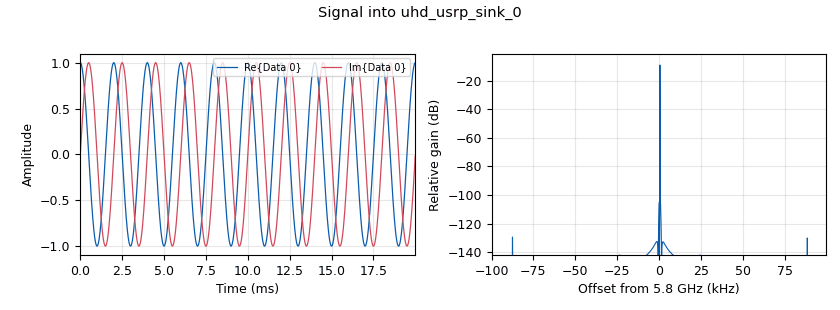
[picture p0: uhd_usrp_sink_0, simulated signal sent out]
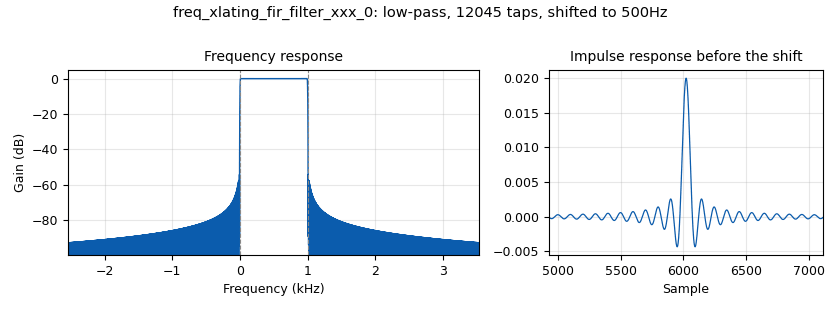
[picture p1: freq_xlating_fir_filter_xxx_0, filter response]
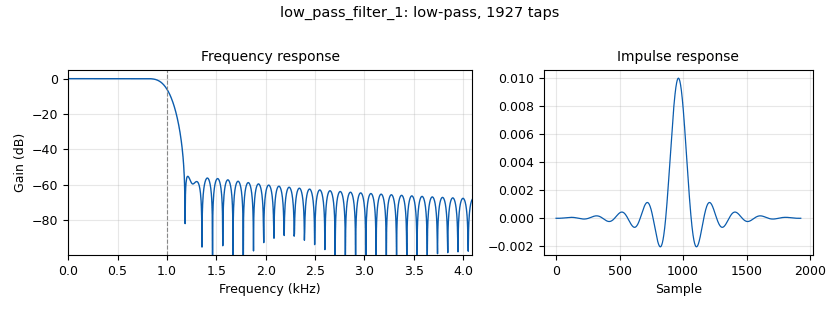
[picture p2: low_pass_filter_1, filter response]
options:
  parameters:
    author: sdr
    generate_options: qt_gui
    id: find_new_name
    output_language: python
    title: Not titled yet
  states: {}

blocks:
- name: audio_range
  id: variable_qtgui_range
  parameters:
    start: '0'
    step: '1'
    stop: '100'
    value: '0'
  states: {state: disabled}
- name: center_freq
  id: variable
  parameters:
    value: 5.8e9
  states: {}
- name: rx_gain
  id: variable_qtgui_range
  parameters:
    start: '0'
    step: '1'
    stop: '30'
    value: '30'
  states: {}
- name: samp_rate
  id: variable
  parameters:
    value: 200e3
  states: {}
- name: tx_gain
  id: variable_qtgui_range
  parameters:
    start: '0'
    step: '1'
    stop: '50'
    value: '50'
  states: {}
- name: analog_sig_source_x_0
  id: analog_sig_source_x
  parameters:
    amp: '1'
    freq: '500'
    offset: '0'
    phase: '0'
    samp_rate: samp_rate
    type: complex
    waveform: analog.GR_COS_WAVE
  states: {}
- name: audio_sink_0
  id: audio_sink
  parameters:
    samp_rate: '48000'
  states: {state: disabled}
- name: band_reject_filter_0
  id: band_reject_filter
  parameters:
    decim: '1'
    gain: '1'
    high_cutoff_freq: '505'
    low_cutoff_freq: '495'
    samp_rate: int(samp_rate / 10)
    type: fir_filter_ccf
    width: '1'
    win: window.WIN_HAMMING
  states: {state: disabled}
- name: blocks_complex_to_float_0
  id: blocks_complex_to_float
  parameters: {}
  states: {state: disabled}
- name: blocks_multiply_const_vxx_0
  id: blocks_multiply_const_vxx
  parameters:
    const: audio_range
    type: complex
  states: {state: disabled}
- name: freq_xlating_fir_filter_xxx_0
  id: freq_xlating_fir_filter_xxx
  parameters:
    center_freq: '500'
    decim: '1'
    samp_rate: samp_rate / 4
    taps: firdes.low_pass(1, 50000, 500, 10)
    type: ccc
  states: {}
- name: low_pass_filter_1
  id: low_pass_filter
  parameters:
    cutoff_freq: 1e3
    decim: '4'
    gain: '1'
    samp_rate: samp_rate
    type: fir_filter_ccf
    width: '250'
    win: window.WIN_HAMMING
  states: {}
- name: qtgui_freq_sink_x_0
  id: qtgui_freq_sink_x
  parameters:
    bw: samp_rate / 10
    fc: '0'
    fftsize: '16384'
    norm_window: 'True'
    type: complex
    wintype: window.WIN_HAMMING
  states: {}
- name: talYaliStav_phaseBlock_0
  id: talYaliStav_phaseBlock
  parameters:
    epsilon: '1e-8'
    fs: samp_rate /  4
    norm_factor: '0'
    samples_len: samp_rate / 4
  states: {}
- name: talYaliStav_theBestBlock_0
  id: talYaliStav_theBestBlock
  parameters:
    epsilon: '1e-8'
    fs: samp_rate / 10
    norm_factor: '200'
    samples_len: '20000'
  states: {state: disabled}
- name: uhd_usrp_sink_0
  id: uhd_usrp_sink
  parameters:
    ant0: '"TX/RX"'
    center_freq0: center_freq
    gain0: tx_gain
    samp_rate: samp_rate
    sync: sync
    type: fc32
  states: {}
- name: uhd_usrp_source_0
  id: uhd_usrp_source
  parameters:
    ant0: '"RX2"'
    center_freq0: center_freq
    gain0: rx_gain
    samp_rate: samp_rate
    sync: sync
    type: fc32
  states: {}

connections:
- [analog_sig_source_x_0, '0', uhd_usrp_sink_0, '0']
- [band_reject_filter_0, '0', blocks_multiply_const_vxx_0, '0']
- [band_reject_filter_0, '0', freq_xlating_fir_filter_xxx_0, '0']
- [band_reject_filter_0, '0', qtgui_freq_sink_x_0, '0']
- [band_reject_filter_0, '0', talYaliStav_theBestBlock_0, '0']
- [blocks_complex_to_float_0, '0', audio_sink_0, '0']
- [blocks_multiply_const_vxx_0, '0', blocks_complex_to_float_0, '0']
- [freq_xlating_fir_filter_xxx_0, '0', talYaliStav_phaseBlock_0, '0']
- [low_pass_filter_1, '0', band_reject_filter_0, '0']
- [low_pass_filter_1, '0', freq_xlating_fir_filter_xxx_0, '0']
- [low_pass_filter_1, '0', qtgui_freq_sink_x_0, '0']
- [uhd_usrp_source_0, '0', low_pass_filter_1, '0']

metadata:
  file_format: 1
  grc_version: 3.10.9.2
